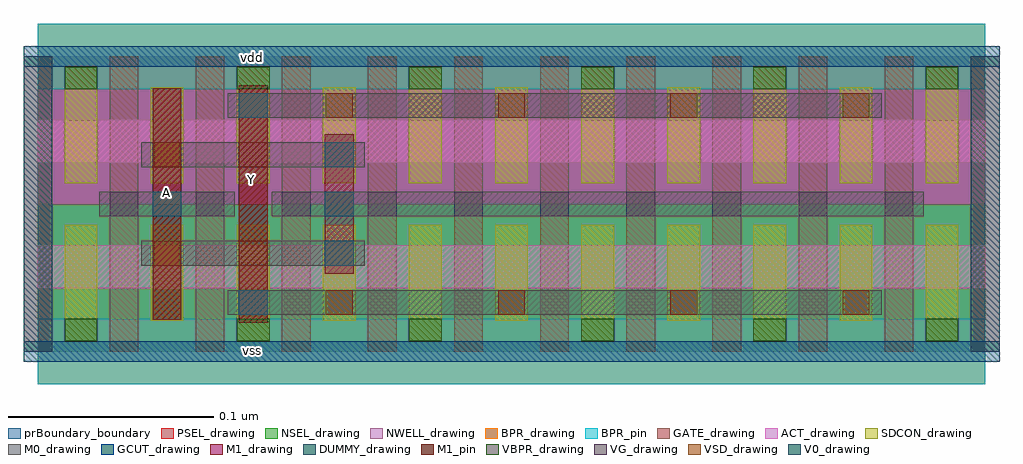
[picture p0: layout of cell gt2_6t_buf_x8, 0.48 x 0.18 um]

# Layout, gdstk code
import gdstk
lib = gdstk.Library(unit=1e-6, precision=5e-10)
def R(c, l, rs):  # rectangles x0, y0, x1, y1
    for r in rs: c.add(gdstk.rectangle(r[:2], r[2:], *l))
def A(c, l, x, y, w, h, nx, ny, dx, dy):  # array of equal rectangles
    R(c, l, [(x+i*dx, y+j*dy, x+i*dx+w, y+j*dy+h) for i in range(nx) for j in range(ny)])
NWELL_drawing = (1, 0)
ACT_drawing = (2, 0)
GATE_drawing = (3, 0)
DUMMY_drawing = (4, 0)
GCUT_drawing = (5, 0)
NSEL_drawing = (6, 0)
PSEL_drawing = (7, 0)
BPR_drawing = (8, 0)
BPR_pin = (8, 251)
VBPR_drawing = (9, 0)
SDCON_drawing = (10, 0)
VSD_drawing = (11, 0)
VG_drawing = (12, 0)
M0_drawing = (20, 0)
V0_drawing = (22, 0)
M1_drawing = (25, 0)
M1_pin = (25, 251)
prBoundary_boundary = (235, 250)

gt2_6t_buf_x8 = lib.new_cell('gt2_6t_buf_x8')
R(gt2_6t_buf_x8, NWELL_drawing, [(0,0.072,0.462,0.144)])
R(gt2_6t_buf_x8, ACT_drawing, [(0,0.031,0.462,0.052), (0,0.092,0.462,0.113)])
A(gt2_6t_buf_x8, GATE_drawing, -0.007, 0, 0.014, 0.144, 9, 1, 0.042, 0)
A(gt2_6t_buf_x8, GATE_drawing, 0.329, 0, 0.014, 0.144, 3, 1, 0.042, 0)
R(gt2_6t_buf_x8, GATE_drawing, [(0.413,0,0.427,0.144), (0.455,0,0.469,0.144)])
R(gt2_6t_buf_x8, DUMMY_drawing, [(-0.007,0,0.007,0.144), (0.455,0,0.469,0.144)])
R(gt2_6t_buf_x8, GCUT_drawing, [(-0.007,-0.005,0.469,0.005), (-0.007,0.139,0.469,0.149)])
R(gt2_6t_buf_x8, NSEL_drawing, [(0,0,0.462,0.072)])
R(gt2_6t_buf_x8, PSEL_drawing, [(0,0.072,0.462,0.144)])
R(gt2_6t_buf_x8, BPR_drawing, [(0,-0.016,0.462,0.016), (0,0.128,0.462,0.16)])
R(gt2_6t_buf_x8, BPR_pin, [(0,-0.016,0.462,0.016), (0,0.128,0.462,0.16)])
A(gt2_6t_buf_x8, VBPR_drawing, 0.013, 0.005, 0.016, 0.011, 6, 2, 0.084, 0.123)
A(gt2_6t_buf_x8, SDCON_drawing, 0.013, 0.005, 0.016, 0.057, 6, 2, 0.084, 0.077)
A(gt2_6t_buf_x8, SDCON_drawing, 0.055, 0.015, 0.016, 0.047, 5, 2, 0.084, 0.067)
A(gt2_6t_buf_x8, VSD_drawing, 0.1405, 0.018, 0.013, 0.012, 4, 2, 0.084, 0.096)
R(gt2_6t_buf_x8, VSD_drawing, [(0.0565,0.042,0.0695,0.054), (0.0565,0.09,0.0695,0.102)])
A(gt2_6t_buf_x8, VG_drawing, 0.035, 0.066, 0.014, 0.012, 10, 1, 0.042, 0)
R(gt2_6t_buf_x8, M0_drawing, [(0.0925,0.018,0.4115,0.03), (0.0505,0.042,0.1595,0.054), (0.03,0.066,0.096,0.078), (0.114,0.066,0.432,0.078), (0.0505,0.09,0.1595,0.102), (0.0925,0.114,0.4115,0.126)])
A(gt2_6t_buf_x8, V0_drawing, 0.14, 0.042, 0.014, 0.012, 1, 3, 0, 0.024)
R(gt2_6t_buf_x8, V0_drawing, [(0.098,0.018,0.112,0.03), (0.056,0.066,0.07,0.078), (0.098,0.114,0.112,0.126)])
R(gt2_6t_buf_x8, M1_drawing, [(0.098,0.014,0.112,0.13), (0.056,0.0155,0.07,0.1285), (0.14,0.038,0.154,0.106)])
R(gt2_6t_buf_x8, M1_pin, [(0.098,0.014,0.112,0.13), (0.056,0.0155,0.07,0.1285)])
R(gt2_6t_buf_x8, prBoundary_boundary, [(0,0,0.462,0.144)])
gt2_6t_buf_x8.add(gdstk.Label('vss', (0.1045,0.0005), layer=8, texttype=251))
gt2_6t_buf_x8.add(gdstk.Label('vdd', (0.1045,0.1435), layer=8, texttype=251))
gt2_6t_buf_x8.add(gdstk.Label('A', (0.0625,0.0775), layer=25, texttype=251))
gt2_6t_buf_x8.add(gdstk.Label('Y', (0.104,0.084), layer=25, texttype=251))

lib.write_gds('gt2_6t_buf_x8.gds')
